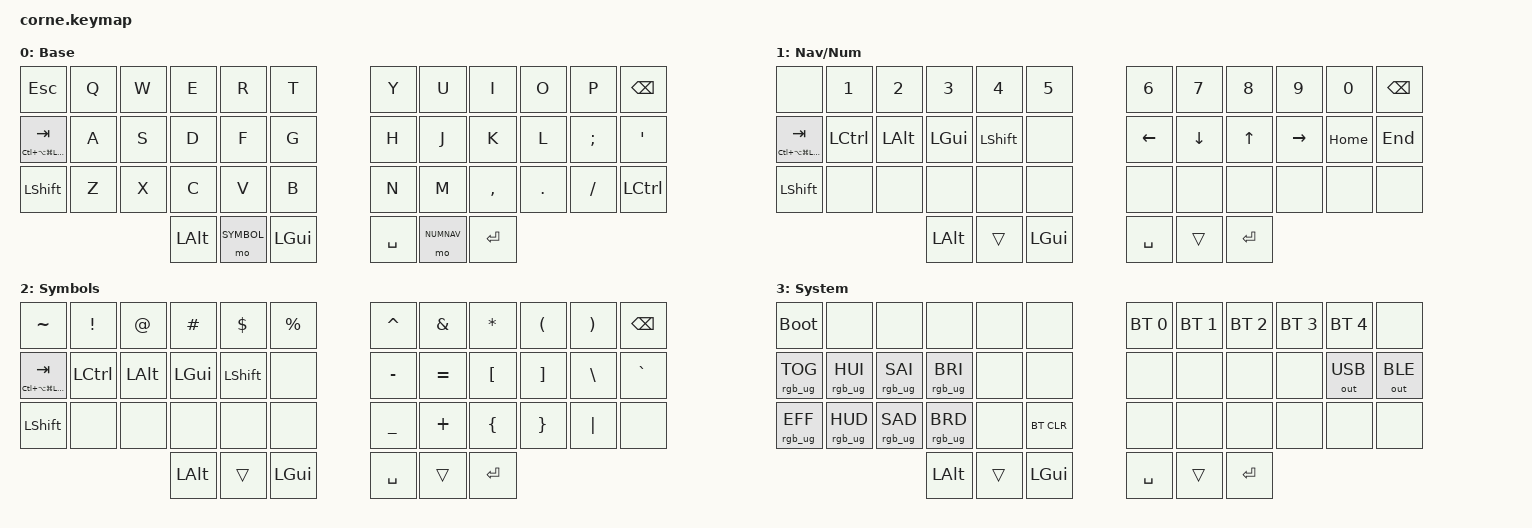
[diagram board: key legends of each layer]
/*
 * Copyright (c) 2020 The ZMK Contributors
 * SPDX-License-Identifier: MIT
 *
 * 42-key Corne: QWERTY, Esc top-left, Tab/Hyper on the left home-row outer key,
 * Control bottom-right, Bluetooth on layer 3,
 * Option / Command on the left thumb, Space / Enter on the right.
 */

#include <behaviors.dtsi>
#include <dt-bindings/zmk/bt.h>
#include <dt-bindings/zmk/keys.h>
#include <dt-bindings/zmk/outputs.h>
#include <dt-bindings/zmk/rgb.h>

#define BASE   0
#define NUMNAV 1
#define SYMBOL 2
#define SYSTEM 3

/* Hyper = Ctrl + Alt + Cmd + Shift (held modifier chord). */
#define HYPER LC(LA(LG(LSHFT)))

/ {
    behaviors {
        /* Left home-row outer key: tap for Tab, hold for Hyper. require-prior-idle-ms makes
         * Tab resolve instantly while typing. */
        hyper_tab: hyper_tab {
            compatible = "zmk,behavior-hold-tap";
            #binding-cells = <2>;
            flavor = "balanced";
            tapping-term-ms = <200>;
            quick-tap-ms = <150>;
            require-prior-idle-ms = <100>;
            bindings = <&kp>, <&kp>;
        };
    };

    /* System = both middle thumbs held, in either order; releasing either leaves it. */
    conditional_layers {
        compatible = "zmk,conditional-layers";
        tri_layer {
            if-layers = <NUMNAV SYMBOL>;
            then-layer = <SYSTEM>;
        };
    };

    keymap {
        compatible = "zmk,keymap";

        base_layer {
            display-name = "Base";
            /*
             * | ESC      Q  W  E  R  T | Y  U  I  O  P  BSPC |
             * | TAB/HYP  A  S  D  F  G | H  J  K  L  ;  '    |
             * | SHIFT    Z  X  C  V  B | N  M  ,  .  /  CTRL |
             *            | OPT  MO2  CMD | SPC  MO1  ENT |
             */
            bindings = <
&kp ESC              &kp Q  &kp W  &kp E  &kp R  &kp T      &kp Y  &kp U  &kp I      &kp O    &kp P     &kp BSPC
&hyper_tab HYPER TAB &kp A  &kp S  &kp D  &kp F  &kp G      &kp H  &kp J  &kp K      &kp L    &kp SEMI  &kp SQT
&kp LSHFT            &kp Z  &kp X  &kp C  &kp V  &kp B      &kp N  &kp M  &kp COMMA  &kp DOT  &kp FSLH  &kp LCTRL
                                   &kp LALT  &mo SYMBOL  &kp LGUI      &kp SPACE  &mo NUMNAV  &kp RET
            >;
        };

        numnav_layer {
            display-name = "Nav/Num";
            /*
             * | ESC      1  2  3  4  5 | 6     7     8   9      0  BSPC |
             * | TAB/HYP  CTRL  OPT  CMD  SHIFT  . | LEFT  DOWN  UP  RIGHT  HOME  END |
             * | SHIFT    .  .  .  .  . | .     .     .   .      .  CTRL |
             *            | OPT  _  CMD | SPC  _  ENT |
             */
            bindings = <
&none              &kp N1  &kp N2  &kp N3  &kp N4  &kp N5      &kp N6    &kp N7    &kp N8  &kp N9     &kp N0  &kp BSPC
&hyper_tab HYPER TAB &kp LCTRL  &kp LALT  &kp LGUI  &kp LSHFT  &none       &kp LEFT  &kp DOWN  &kp UP  &kp RIGHT  &kp HOME  &kp END
&kp LSHFT            &none   &none   &none   &none   &none       &none     &none     &none   &none      &none   &none
                                     &kp LALT  &trans  &kp LGUI      &kp SPACE  &trans  &kp RET
            >;
        };

        symbol_layer {
            display-name = "Symbols";
            /*
             * | ESC      !  @  #  $  % | ^  &  *  (  )  BSPC |
             * | TAB/HYP  CTRL  OPT  CMD  SHIFT  . | -  =  [  ]  \  `    |
             * | SHIFT    .  .  .  .  . | _  +  {  }  |  ~    |
             *            | OPT  _  CMD | SPC  _  ENT |
             */
            bindings = <
&kp TILDE              &kp EXCL  &kp AT  &kp HASH  &kp DLLR  &kp PRCNT      &kp CARET  &kp AMPS  &kp STAR  &kp LPAR  &kp RPAR  &kp BSPC
&hyper_tab HYPER TAB &kp LCTRL &kp LALT &kp LGUI &kp LSHFT &none          &kp MINUS  &kp EQUAL &kp LBKT  &kp RBKT  &kp BSLH  &kp GRAVE
&kp LSHFT            &none     &none   &none     &none     &none          &kp UNDER  &kp PLUS  &kp LBRC  &kp RBRC  &kp PIPE  &none
                                       &kp LALT  &trans  &kp LGUI      &kp SPACE  &trans  &kp RET
            >;
        };

        system_layer {
            display-name = "System";
            /*
             * Reached by holding both middle thumbs, in either order (conditional layer); releasing either leaves it.
             * | BOOT   .    .    .    .   . | BT1   BT2  BT3  BT4  BT5  . |
             * | RGBTOG HUE+ SAT+ VAL+ .   . |   .   .    .    .    USB  BLE|
             * | RGBMOD HUE- SAT- VAL- .  BTCLR | .   .    .    .    .    . |
             *            | OPT  _  CMD | SPC  _  ENT |
             * RGB is off (CONFIG_ZMK_RGB_UNDERGLOW=n), so the &rgb_ug keys fall through to Symbols: RGBTOG = Tab/Hyper, HUE+/SAT+/VAL+ = Ctrl/Opt/Cmd, RGBMOD = Shift; HUE-/SAT-/VAL- do nothing.
             */
            bindings = <
&bootloader      &none            &none            &none            &none  &none      &bt BT_SEL 0  &bt BT_SEL 1  &bt BT_SEL 2  &bt BT_SEL 3  &bt BT_SEL 4  &none
&rgb_ug RGB_TOG  &rgb_ug RGB_HUI  &rgb_ug RGB_SAI  &rgb_ug RGB_BRI  &none  &none      &none         &none         &none         &none         &out OUT_USB  &out OUT_BLE
&rgb_ug RGB_EFF  &rgb_ug RGB_HUD  &rgb_ug RGB_SAD  &rgb_ug RGB_BRD  &none  &bt BT_CLR      &none         &none         &none         &none         &none         &none
                                                   &kp LALT  &trans  &kp LGUI      &kp SPACE  &trans  &kp RET
            >;
        };
    };
};

&kscan0 {
    debounce-press-ms = <3>;
    debounce-release-ms = <3>;
};
